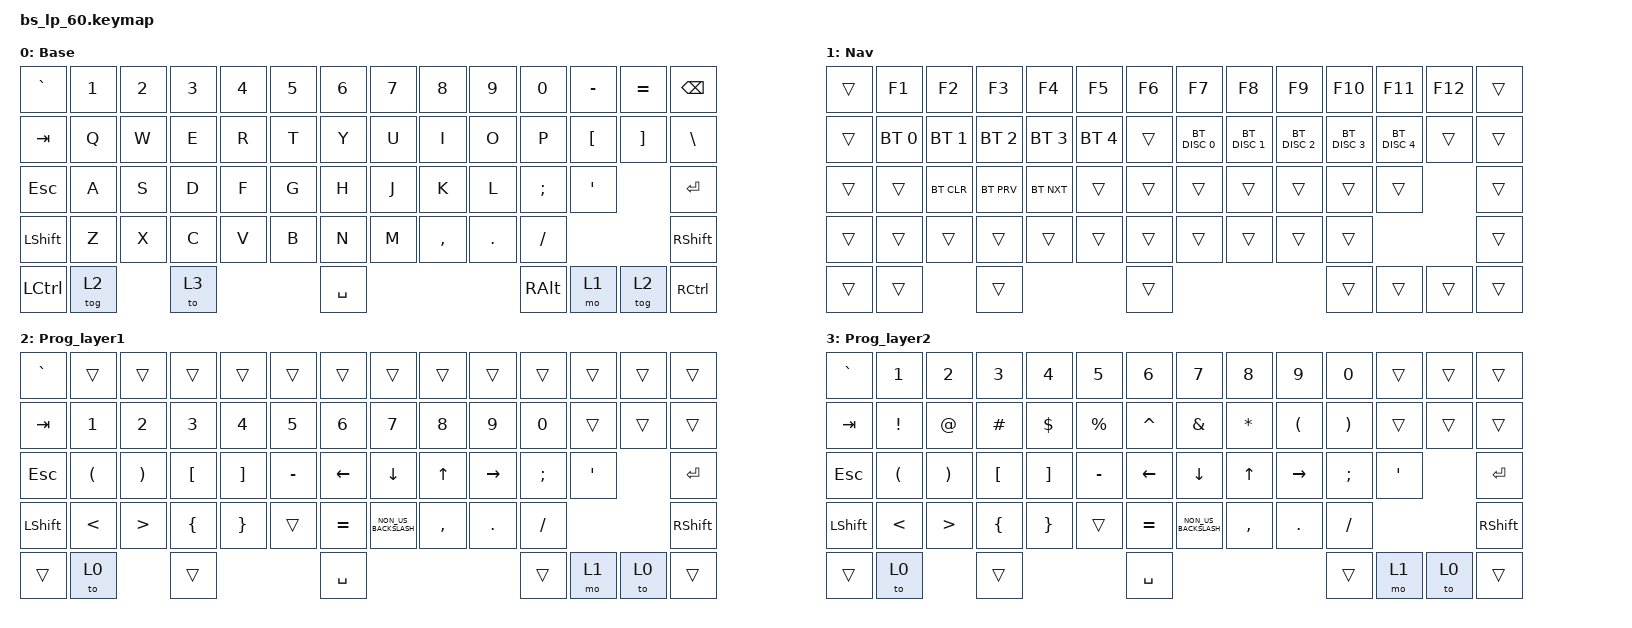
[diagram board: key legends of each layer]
/*
 * Copyright (c) 2021 Cole Smith
 *
 * SPDX-License-Identifier: MIT
 */

#include <dt-bindings/zmk/reset.h>
#include <behaviors.dtsi>
#include <dt-bindings/zmk/bt.h>
#include <dt-bindings/zmk/keys.h>

#define BAS_L 0
#define NAV_L 1

/ {
    keymap {
        compatible = "zmk,keymap";

        default_layer {
            // ------------------------------------------------------------------------------------------
            // | ESC |  1  |  2  |  3  |  4  |  5  |  6  |  7  |  8  |  9  |  0  |  -  |  =  |   BKSP   |
            // | TAB  |  Q  |  W  |  E  |  R  |  T  |  Y  |  U  |  I  |  O  |  P  |  [  |  ]  |   "|"   |
            // | CAPS  |  A  |  S  |  D  |  F  |  G  |  H  |  J  |  K  |  L  |  ;  |  '  |     ENTER    |
            // |  SHIFT  |  Z  |  X  |  C  |  V  |  B  |  N  |  M  |  ,  |  .  |  /  |      SHIFT       |
            // |  CTL  |  WIN  |  ALT  |            SPACE              |  ALT  |  WIN  |  MO(1) |  CTL  |
            // ------------------------------------------------------------------------------------------

            label = "Base";
            bindings = <
&kp GRAVE  &kp N1  &kp N2  &kp N3  &kp N4  &kp N5  &kp N6     &kp N7  &kp N8     &kp N9   &kp N0    &kp MINUS  &kp EQUAL  &kp BSPC
&kp TAB    &kp Q   &kp W   &kp E   &kp R   &kp T   &kp Y      &kp U   &kp I      &kp O    &kp P     &kp LBKT   &kp RBKT   &kp BSLH
&kp ESC    &kp A   &kp S   &kp D   &kp F   &kp G   &kp H      &kp J   &kp K      &kp L    &kp SEMI  &kp SQT               &kp RET
&kp LSHFT  &kp Z   &kp X   &kp C   &kp V   &kp B   &kp N      &kp M   &kp COMMA  &kp DOT  &kp FSLH                        &kp RSHFT
&kp LCTRL  &tog 2          &to 3                   &kp SPACE                              &kp RALT  &mo 1      &tog 2     &kp RCTRL
            >;
        };

        ble_layer {
            // ------------------------------------------------------------------------------------------------
            // | BT CLR | F1  | F2  | F3  | F4  | F5  | F6  | F7  | F8  | F9  | F10  | F11 | F12 |            |
            // |  BT 1   |   |  UP |   |       |       |       |       |   |     |    |     |     |           |
            // |   BT 2   | LT |  DN  | RT |       |       |       |       |   |     |   |     |              |
            // |    BT 3     |     |      |      |     |     |     |     |     |     |     |                  |
            // |   BT 4  |      |      |                                    | PRT SCR |       |       |  DEL  |
            // ------------------------------------------------------------------------------------------------

            label = "Nav";
            bindings = <
&trans  &kp F1        &kp F2        &kp F3        &kp F4        &kp F5        &kp F6  &kp F7         &kp F8         &kp F9         &kp F10        &kp F11        &kp F12  &trans
&trans  &bt BT_SEL 0  &bt BT_SEL 1  &bt BT_SEL 2  &bt BT_SEL 3  &bt BT_SEL 4  &trans  &bt BT_DISC 0  &bt BT_DISC 1  &bt BT_DISC 2  &bt BT_DISC 3  &bt BT_DISC 4  &trans   &trans
&trans  &trans        &bt BT_CLR    &bt BT_PRV    &bt BT_NXT    &trans        &trans  &trans         &trans         &trans         &trans         &trans                  &trans
&trans  &trans        &trans        &trans        &trans        &trans        &trans  &trans         &trans         &trans         &trans                                 &trans
&trans  &trans                      &trans                                    &trans                                               &trans         &trans         &trans   &trans
            >;
        };

        Prog_layer1 {
            bindings = <
&kp GRAVE       &trans                &trans                 &trans            &trans             &trans        &trans        &trans                &trans        &trans        &trans         &trans            &trans  &trans
&kp TAB         &kp NUMBER_1          &kp NUMBER_2           &kp NUMBER_3      &kp NUMBER_4       &kp NUMBER_5  &kp NUMBER_6  &kp NUMBER_7          &kp NUMBER_8  &kp NUMBER_9  &kp NUMBER_0   &trans            &trans  &trans
&kp ESCAPE      &kp LEFT_PARENTHESIS  &kp RIGHT_PARENTHESIS  &kp LEFT_BRACKET  &kp RIGHT_BRACKET  &kp MINUS     &kp LEFT      &kp DOWN              &kp UP_ARROW  &kp RIGHT     &kp SEMICOLON  &kp SINGLE_QUOTE          &kp RET
&kp LEFT_SHIFT  &kp LESS_THAN         &kp GREATER_THAN       &kp LEFT_BRACE    &kp RIGHT_BRACE    &trans        &kp EQUAL     &kp NON_US_BACKSLASH  &kp COMMA     &kp PERIOD    &kp SLASH                                &kp RIGHT_SHIFT
&trans          &to 0                                        &trans                                             &kp SPACE                                                       &trans         &mo 1             &to 0   &trans
            >;
        };

        Prog_layer2 {
            bindings = <
&kp GRAVE       &kp NUMBER_1          &kp NUMBER_2           &kp NUMBER_3      &kp NUMBER_4       &kp N5       &kp NUMBER_6  &kp N7                &kp N8        &kp N9                &kp N0                 &trans            &trans  &trans
&kp TAB         &kp EXCLAMATION       &kp AT_SIGN            &kp HASH          &kp DOLLAR         &kp PERCENT  &kp CARET     &kp AMPERSAND         &kp ASTERISK  &kp LEFT_PARENTHESIS  &kp RIGHT_PARENTHESIS  &trans            &trans  &trans
&kp ESCAPE      &kp LEFT_PARENTHESIS  &kp RIGHT_PARENTHESIS  &kp LEFT_BRACKET  &kp RIGHT_BRACKET  &kp MINUS    &kp LEFT      &kp DOWN              &kp UP_ARROW  &kp RIGHT             &kp SEMICOLON          &kp SINGLE_QUOTE          &kp RET
&kp LEFT_SHIFT  &kp LESS_THAN         &kp GREATER_THAN       &kp LEFT_BRACE    &kp RIGHT_BRACE    &trans       &kp EQUAL     &kp NON_US_BACKSLASH  &kp COMMA     &kp PERIOD            &kp SLASH                                        &kp RIGHT_SHIFT
&trans          &to 0                                        &trans                                            &kp SPACE                                                               &trans                 &mo 1             &to 0   &trans
            >;
        };
    };
};
